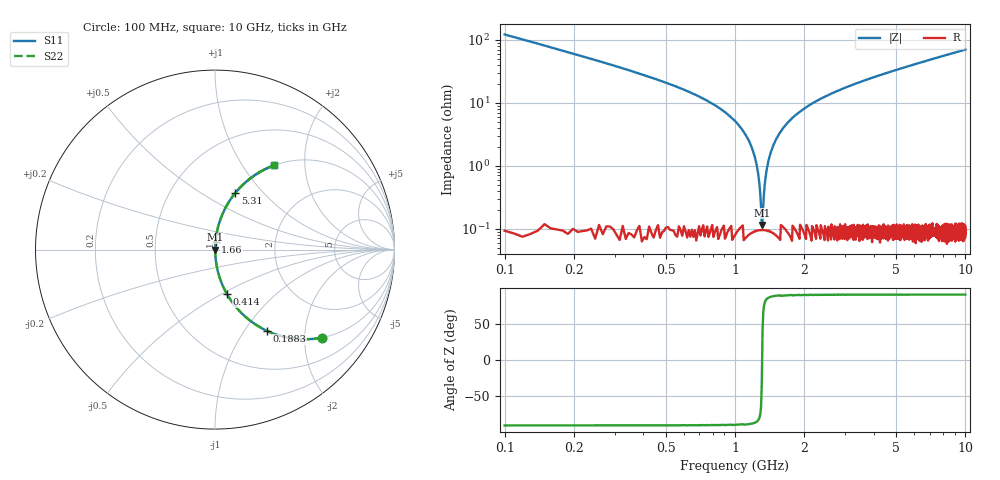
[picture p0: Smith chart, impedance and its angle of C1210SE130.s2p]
! AVX Thin Film Operation		Date: April 2012
! Description: Accu-P® Series, Thin Film, SMD, RF Capacitor
! Part Number: 12101J130FBTTR
!	100	MHz	-	10.05	GHz
!	Serial	Measurements
#	MHZ	S	MA	R	50
!	S11	S21	S12	S22
!	dB	Phase	dB	Phase	dB	Phase	dB	Phase
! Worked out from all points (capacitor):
!   1010 points, 100 MHz to 10 GHz, reference 50 ohm
!   read as one part in series: C = 13 pF near 149.1 MHz
!   lowest |Z| = 114 mohm at 1.307 GHz (marker M1)
!   series resonance near 1.311 GHz, so ESL is about 1.1 nH
!   S11 on the Smith chart (normalised r, x): 100 MHz: 1.00, -2.43; 188.3 MHz: 1.00, -1.27; 414 MHz: 1.00, -0.53; 1.66 GHz: 1.00, +0.09; 5.31 GHz: 1.00, +0.71; 10 GHz: 1.00, +1.40
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100  0.772 -39.4  0.635 50.6  0.635 50.6  0.772 -39.4
188.305  0.537 -57.5  0.843 32.5  0.843 32.5  0.537 -57.5
276.611  0.389 -67.0  0.92 22.9  0.92 22.9  0.389 -67.0
413.974  0.257 -74.9  0.966 14.9  0.966 14.9  0.257 -74.9
865.312  0.08 -84.8  0.996 4.6  0.996 4.6  0.08 -84.8
1081.169  0.036 -86.5  0.998 2.1  0.998 2.1  0.036 -86.5
1198.91  0.017 -86.0  0.999 1.0  0.999 1.0  0.017 -86.0
1238.157  0.011 -84.6  0.999 0.6  0.999 0.6  0.011 -84.6
1277.403  0.00497 -79.3  0.999 0.3  0.999 0.3  0.00497 -79.3
1306.838  0.0011 -35.1  0.999 0.0  0.999 0.0  0.0011 -35.1
1346.085  0.00497 79.3  0.999 -0.3  0.999 -0.3  0.00497 79.3
1395.144  0.012 84.9  0.999 -0.7  0.999 -0.7  0.012 84.9
1444.202  0.018 86.1  0.999 -1.0  0.999 -1.0  0.018 86.1
1660.059  0.044 86.3  0.998 -2.5  0.998 -2.5  0.044 86.3
1758.176  0.055 85.9  0.998 -3.2  0.998 -3.2  0.055 85.9
2346.878  0.114 83.0  0.993 -6.6  0.993 -6.6  0.114 83.0
3406.541  0.202 78.1  0.978 -11.7  0.978 -11.7  0.202 78.1
5054.906  0.318 71.3  0.947 -18.5  0.947 -18.5  0.318 71.3
5310.01  0.334 70.3  0.942 -19.5  0.942 -19.5  0.334 70.3
6703.271  0.417 65.3  0.908 -24.6  0.908 -24.6  0.417 65.3
8351.635  0.501 59.8  0.864 -30.1  0.864 -30.1  0.501 59.8
10000  0.573 55.0  0.819 -35.0  0.819 -35.0  0.573 55.0
